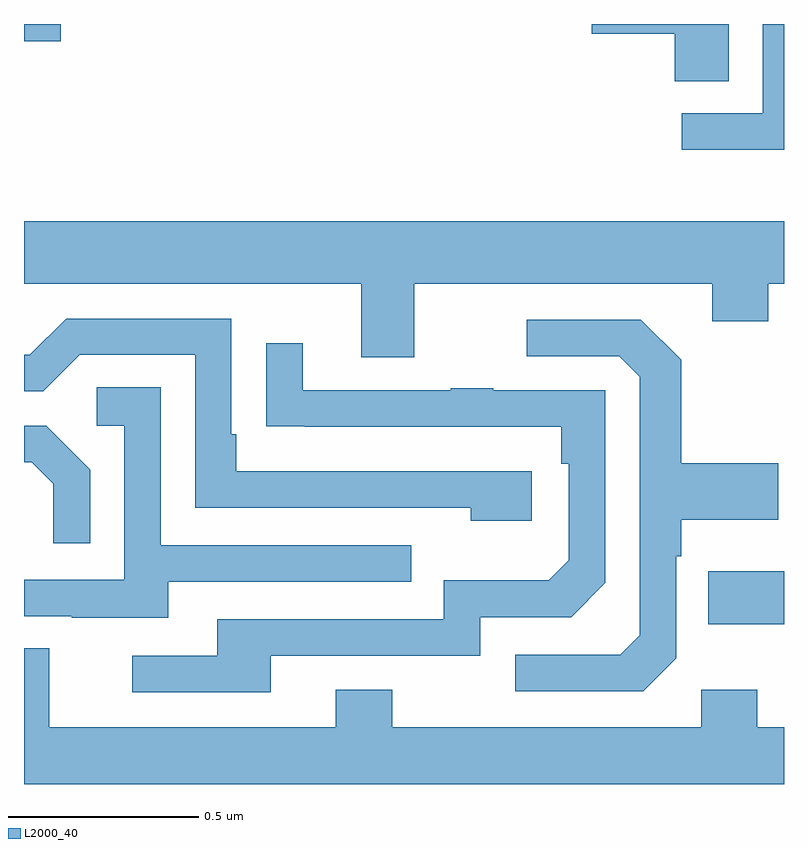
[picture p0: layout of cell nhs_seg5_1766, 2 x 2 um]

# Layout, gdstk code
import gdstk
lib = gdstk.Library(unit=1e-6, precision=1e-09)
def R(c, l, rs):  # rectangles x0, y0, x1, y1
    for r in rs: c.add(gdstk.rectangle(r[:2], r[2:], *l))
def P(c, l, *ps):  # polygons
    for p in ps: c.add(gdstk.Polygon(p, *l))
L2000_40 = (2000, 40)

nhs_seg5_1766 = lib.new_cell('nhs_seg5_1766')
R(nhs_seg5_1766, L2000_40, [(136.801,833.219,137,833.359), (135,834.754,135.097,834.799)])
P(nhs_seg5_1766, L2000_40, [(136.855,834.799),(136.494,834.799),(136.494,834.773),(136.712,834.773),(136.712,834.649),(136.855,834.649)],
  [(137,834.799),(136.944,834.799),(136.944,834.564),(136.731,834.564),(136.731,834.468),(137,834.468)],
  [(136.027,834.116),(136.811,834.116),(136.811,834.017),(136.959,834.017),(136.959,834.116),(137,834.116),(137,834.28),(135,834.28),(135,834.116),(135.887,834.116),(135.887,833.922),(136.027,833.922)],
  [(136.336,833.622),(135.559,833.622),(135.559,833.719),(135.546,833.719),(135.546,834.024),(135.111,834.024),(135.015,833.928),(135,833.928),(135,833.832),(135.051,833.832),(135.147,833.928),(135.45,833.928),(135.45,833.526),(136.175,833.526),(136.175,833.492),(136.336,833.492)],
  [(136.716,833.13),(136.716,833.399),(136.729,833.399),(136.729,833.495),(136.985,833.495),(136.985,833.643),(136.729,833.643),(136.729,833.915),(136.623,834.021),(136.323,834.021),(136.323,833.925),(136.566,833.925),(136.62,833.871),(136.62,833.19),(136.569,833.139),(136.293,833.139),(136.293,833.043),(136.629,833.043)],
  [(135.649,833.136),(136.2,833.136),(136.2,833.238),(136.44,833.238),(136.53,833.328),(136.53,833.835),(136.235,833.835),(136.235,833.84),(136.123,833.84),(136.123,833.835),(135.733,833.835),(135.733,833.959),(135.637,833.959),(135.637,833.74),(135.739,833.74),(135.739,833.739),(136.414,833.739),(136.414,833.642),(136.434,833.642),(136.434,833.388),(136.381,833.335),(136.104,833.335),(136.104,833.232),(135.509,833.232),(135.509,833.136),(135.285,833.136),(135.285,833.04),(135.649,833.04)],
  [(135.379,833.331),(136.019,833.331),(136.019,833.427),(135.36,833.427),(135.36,833.843),(135.192,833.843),(135.192,833.742),(135.264,833.742),(135.264,833.337),(135,833.337),(135,833.241),(135.125,833.241),(135.125,833.237),(135.379,833.237)],
  [(135.174,833.626),(135.058,833.742),(135,833.742),(135,833.646),(135.02,833.646),(135.077,833.589),(135.077,833.433),(135.174,833.433)],
  [(137,832.948),(136.929,832.948),(136.929,833.047),(136.782,833.047),(136.782,832.948),(135.969,832.948),(135.969,833.047),(135.821,833.047),(135.821,832.948),(135.067,832.948),(135.067,833.156),(135,833.156),(135,832.799),(137,832.799)])

lib.write_gds('nhs_seg5_1766.gds')
